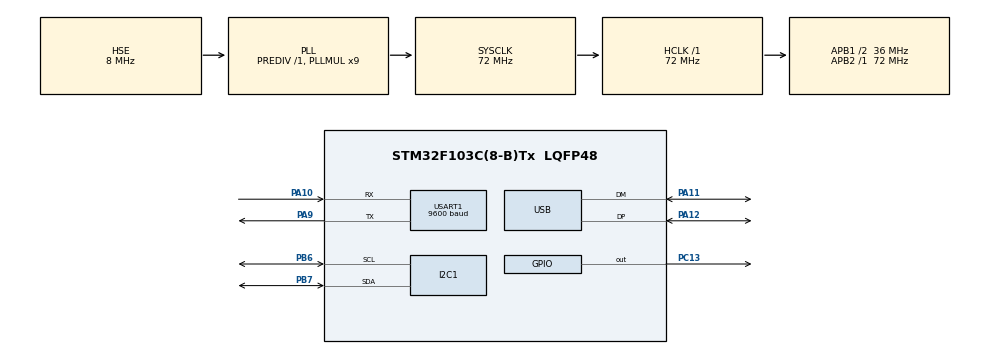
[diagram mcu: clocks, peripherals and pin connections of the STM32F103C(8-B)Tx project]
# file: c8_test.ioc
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Mcu.Family=STM32F1
Mcu.Name=STM32F103C(8-B)Tx
Mcu.Package=LQFP48
NVIC.PriorityGroup=NVIC_PRIORITYGROUP_4
NVIC.TIM1_UP_IRQn=true\:0\:0\:false\:false\:true\:true\:true
NVIC.USART1_IRQn=true\:0\:0\:false\:false\:true\:true\:true
NVIC.USB_LP_CAN1_RX0_IRQn=true\:0\:0\:false\:false\:true\:false\:true
PA10.Mode=Asynchronous
PA10.Signal=USART1_RX
PA11.Mode=Device
PA11.Signal=USB_DM
PA12.Mode=Device
PA12.Signal=USB_DP
PA13.Mode=Serial_Wire
PA13.Signal=SYS_JTMS-SWDIO
PA14.Mode=Serial_Wire
PA14.Signal=SYS_JTCK-SWCLK
PA9.Mode=Asynchronous
PA9.Signal=USART1_TX
PB6.Mode=I2C
PB6.Signal=I2C1_SCL
PB7.Mode=I2C
PB7.Signal=I2C1_SDA
PC13-TAMPER-RTC.Signal=GPIO_Output
PD0-OSC_IN.Mode=HSE-External-Oscillator
PD0-OSC_IN.Signal=RCC_OSC_IN
PD1-OSC_OUT.Mode=HSE-External-Oscillator
PD1-OSC_OUT.Signal=RCC_OSC_OUT
ProjectManager.HeapSize=0x200
ProjectManager.StackSize=0x400
ProjectManager.TargetToolchain=Makefile
RCC.AHBFreq_Value=72000000
RCC.APB1CLKDivider=RCC_HCLK_DIV2
RCC.APB1Freq_Value=36000000
RCC.APB1TimFreq_Value=72000000
RCC.APB2Freq_Value=72000000
RCC.APB2TimFreq_Value=72000000
RCC.HCLKFreq_Value=72000000
RCC.PLLMUL=RCC_PLL_MUL9
RCC.SYSCLKFreq_VALUE=72000000
RCC.SYSCLKSource=RCC_SYSCLKSOURCE_PLLCLK
RCC.USBFreq_Value=48000000
RCC.USBPrescaler=RCC_USBCLKSOURCE_PLL_DIV1_5
USART1.BaudRate=9600
USART1.VirtualMode=VM_ASYNC
USB_DEVICE.CLASS_NAME_FS=CDC
USB_DEVICE.VirtualMode=Cdc
USB_DEVICE.VirtualModeFS=Cdc_FS
VP_TIM1_VS_ClockSourceINT.Mode=Internal
VP_USB_DEVICE_VS_USB_DEVICE_CDC_FS.Mode=CDC_FS
board=custom

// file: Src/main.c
/* USER CODE BEGIN Header */
/**
  ******************************************************************************
  * @file           : main.c
  * @brief          : Main program body
  ******************************************************************************
  * @attention
  *
  * <h2><center>&copy; Copyright (c) 2021 STMicroelectronics.
  * All rights reserved.</center></h2>
  *
  * This software component is licensed by ST under BSD 3-Clause license,
  * the "License"; You may not use this file except in compliance with the
  * License. You may obtain a copy of the License at:
  *                        opensource.org/licenses/BSD-3-Clause
  *
  ******************************************************************************
  */
/* USER CODE END Header */
#include "main.h"
#include "usb_device.h"

/* USER CODE BEGIN Includes */
#include "usbd_cdc_if.h"
#include "string.h"
#include "math.h"
#include <stdio.h>
/* USER CODE END Includes */

I2C_HandleTypeDef hi2c1;

TIM_HandleTypeDef htim1;

UART_HandleTypeDef huart1;

/* USER CODE BEGIN PV */
const float eksponent = 0.1902949571836346336822074215; // Eksponent za racunanjhe visine; vrednost: 1/5.255 (po dokumentaciji)
const float p0 = 1013.25; // Pritisak na nivou mora, za racunanje visine sluzi

uint8_t initValue = 0xAC; // Vrednost sa neta (radi), sluzi da oznaci SlaveAddr
uint8_t* pData = &initValue;

uint16_t devAddress = 0x27; // Adresa uredjanja (nadjena u dokumentaciji)
uint8_t dataBuffer[5] = {0,0,0,0,0}; // Buffer koji prima podatke sa senzora
/* USER CODE END PV */

void SystemClock_Config(void);
static void MX_GPIO_Init(void);
static void MX_TIM1_Init(void);
static void MX_USART1_UART_Init(void);
static void MX_I2C1_Init(void);

int main(void)
{

  /* MCU Configuration--------------------------------------------------------*/

  /* Reset of all peripherals, Initializes the Flash interface and the Systick. */
  HAL_Init();

  /* Configure the system clock */
  SystemClock_Config();

  /* Initialize all configured peripherals */
  MX_GPIO_Init();
  MX_TIM1_Init();
  MX_USART1_UART_Init();
  MX_USB_DEVICE_Init();
  MX_I2C1_Init();

  /* Infinite loop */
  while (1)
  {

    /* USER CODE BEGIN 3 */

    /**
     * Po dokumetaciji Master salje Slaveu vrednost SlaveAddr (0xAC) i 0 na kraju ako je write operacije (pa je zato <<1)
     * Ceka se min 20ms
     * Prima se 5B podataka (1B status, 2B Pritisak, 2B Temperatura)
    */

    HAL_I2C_Master_Transmit(&hi2c1, (devAddress<<1), pData, 1, HAL_MAX_DELAY);
    HAL_Delay(50);
    HAL_I2C_Master_Receive(&hi2c1, (devAddress<<1) | 0x01, dataBuffer, 5, HAL_MAX_DELAY);

    //CDC_Transmit_FS(dataBuffer, 5);

    /**
     * Pakovanje 2 uint8_t u 1 uint16_t
     * Isto i za P i za T
    */

    uint16_t P = 0; // Vrednost pritiska iz data buffera (ova vrednost se ubacuje u formulu iz dokumetacije za racunanje pritisak)
    uint16_t T = 0; // Vrednost temperature iz data buffera (ova vrednost se ubacuje u formulu iz dokumetacije za racunanje temperature)

    P |= (uint16_t)dataBuffer[1] << 8;
    P |= (uint16_t)dataBuffer[2] << 0;

    T |= (uint16_t)dataBuffer[3] << 8;
    T |= (uint16_t)dataBuffer[4] << 0;

    /**
     * Konverzija P i T po formulama iz dokumetacije
     * Kljucno je da tip Pconv i Tconv bude float, da bi formula imala smisla
    */

    float Pconv = (float)P/65535*(1260-260) + 260; // Vrednost pritiska nakon preracunavanja (realna vrednost)
    float Tconv = (float)T/65535*(85+40) - 40;     // Vrednost temperature nakon prepracunavanja (realna vrednost)

    /**
     * Float pretvaram u niz karaktera da bi mogao da ga posaljem serijski
     * velicina floata je 4B
    */
    unsigned char *chptr_Pconv; // Pointer na niz karaktera koji oznacavaju Pconv (sluzi da bi serijskom vezom poslao vrednost Pconv)
    chptr_Pconv = (unsigned char *) &Pconv;

    unsigned char *chptr_Tconv; // Pointer na niz karaktera koji oznacavaju Tconv (sluzi da bi serijskom vezom poslao vrednost Tconv)
    chptr_Tconv = (unsigned char *) &Tconv;

    CDC_Transmit_FS(chptr_Pconv, 4);
    HAL_Delay(50);
    CDC_Transmit_FS(chptr_Tconv, 4);

    /**
     * Racunanje visine po formuli iz dokumentacije
     * Opet je bitno da height bude float
    */

    float height = 44330 * (1 - pow((Pconv/p0),eksponent)); // Visina

    /**
     * Opet float pretvaram u niz karaktera da bi mogao da ga posaljem serijski
     * velicina floata je 4B
    */
    unsigned char *chptr_height;  // Pointer na niz karaktera koji oznacavaju height (sluzi da bi serijskom vezom poslao vrednost height)
    chptr_height = (unsigned char *) &height;

    CDC_Transmit_FS(chptr_height, 4);

    HAL_GPIO_TogglePin(GPIOC, GPIO_PIN_13);
    HAL_Delay(1000);
  }
  /* USER CODE END 3 */
}
void SystemClock_Config(void)
{
  RCC_OscInitTypeDef RCC_OscInitStruct = {0};
  RCC_ClkInitTypeDef RCC_ClkInitStruct = {0};
  RCC_PeriphCLKInitTypeDef PeriphClkInit = {0};

  /** Initializes the RCC Oscillators according to the specified parameters
  * in the RCC_OscInitTypeDef structure.
  */
  RCC_OscInitStruct.OscillatorType = RCC_OSCILLATORTYPE_HSE;
  RCC_OscInitStruct.HSEState = RCC_HSE_ON;
  RCC_OscInitStruct.HSEPredivValue = RCC_HSE_PREDIV_DIV1;
  RCC_OscInitStruct.HSIState = RCC_HSI_ON;
  RCC_OscInitStruct.PLL.PLLState = RCC_PLL_ON;
  RCC_OscInitStruct.PLL.PLLSource = RCC_PLLSOURCE_HSE;
  RCC_OscInitStruct.PLL.PLLMUL = RCC_PLL_MUL9;
  if (HAL_RCC_OscConfig(&RCC_OscInitStruct) != HAL_OK)
  {
    Error_Handler();
  }
  /** Initializes the CPU, AHB and APB buses clocks
  */
  RCC_ClkInitStruct.ClockType = RCC_CLOCKTYPE_HCLK|RCC_CLOCKTYPE_SYSCLK
                              |RCC_CLOCKTYPE_PCLK1|RCC_CLOCKTYPE_PCLK2;
  RCC_ClkInitStruct.SYSCLKSource = RCC_SYSCLKSOURCE_PLLCLK;
  RCC_ClkInitStruct.AHBCLKDivider = RCC_SYSCLK_DIV1;
  RCC_ClkInitStruct.APB1CLKDivider = RCC_HCLK_DIV2;
  RCC_ClkInitStruct.APB2CLKDivider = RCC_HCLK_DIV1;

  if (HAL_RCC_ClockConfig(&RCC_ClkInitStruct, FLASH_LATENCY_2) != HAL_OK)
  {
    Error_Handler();
  }
  PeriphClkInit.PeriphClockSelection = RCC_PERIPHCLK_USB;
  PeriphClkInit.UsbClockSelection = RCC_USBCLKSOURCE_PLL_DIV1_5;
  if (HAL_RCCEx_PeriphCLKConfig(&PeriphClkInit) != HAL_OK)
  {
    Error_Handler();
  }
}

static void MX_I2C1_Init(void)
{

  hi2c1.Instance = I2C1;
  hi2c1.Init.ClockSpeed = 100000;
  hi2c1.Init.DutyCycle = I2C_DUTYCYCLE_2;
  hi2c1.Init.OwnAddress1 = 0;
  hi2c1.Init.AddressingMode = I2C_ADDRESSINGMODE_7BIT;
  hi2c1.Init.DualAddressMode = I2C_DUALADDRESS_DISABLE;
  hi2c1.Init.OwnAddress2 = 0;
  hi2c1.Init.GeneralCallMode = I2C_GENERALCALL_DISABLE;
  hi2c1.Init.NoStretchMode = I2C_NOSTRETCH_DISABLE;
  if (HAL_I2C_Init(&hi2c1) != HAL_OK)
  {
    Error_Handler();
  }

}

static void MX_TIM1_Init(void)
{

  TIM_ClockConfigTypeDef sClockSourceConfig = {0};
  TIM_MasterConfigTypeDef sMasterConfig = {0};

  htim1.Instance = TIM1;
  htim1.Init.Prescaler = 0;
  htim1.Init.CounterMode = TIM_COUNTERMODE_UP;
  htim1.Init.Period = 65535;
  htim1.Init.ClockDivision = TIM_CLOCKDIVISION_DIV1;
  htim1.Init.RepetitionCounter = 0;
  htim1.Init.AutoReloadPreload = TIM_AUTORELOAD_PRELOAD_DISABLE;
  if (HAL_TIM_Base_Init(&htim1) != HAL_OK)
  {
    Error_Handler();
  }
  sClockSourceConfig.ClockSource = TIM_CLOCKSOURCE_INTERNAL;
  if (HAL_TIM_ConfigClockSource(&htim1, &sClockSourceConfig) != HAL_OK)
  {
    Error_Handler();
  }
  sMasterConfig.MasterOutputTrigger = TIM_TRGO_RESET;
  sMasterConfig.MasterSlaveMode = TIM_MASTERSLAVEMODE_DISABLE;
  if (HAL_TIMEx_MasterConfigSynchronization(&htim1, &sMasterConfig) != HAL_OK)
  {
    Error_Handler();
  }

}

static void MX_USART1_UART_Init(void)
{

  huart1.Instance = USART1;
  huart1.Init.BaudRate = 9600;
  huart1.Init.WordLength = UART_WORDLENGTH_8B;
  huart1.Init.StopBits = UART_STOPBITS_1;
  huart1.Init.Parity = UART_PARITY_NONE;
  huart1.Init.Mode = UART_MODE_TX_RX;
  huart1.Init.HwFlowCtl = UART_HWCONTROL_NONE;
  huart1.Init.OverSampling = UART_OVERSAMPLING_16;
  if (HAL_UART_Init(&huart1) != HAL_OK)
  {
    Error_Handler();
  }

}

static void MX_GPIO_Init(void)
{
  GPIO_InitTypeDef GPIO_InitStruct = {0};

  /* GPIO Ports Clock Enable */
  __HAL_RCC_GPIOC_CLK_ENABLE();
  __HAL_RCC_GPIOD_CLK_ENABLE();
  __HAL_RCC_GPIOA_CLK_ENABLE();
  __HAL_RCC_GPIOB_CLK_ENABLE();

  /*Configure GPIO pin Output Level */
  HAL_GPIO_WritePin(GPIOC, GPIO_PIN_13, GPIO_PIN_RESET);

  /*Configure GPIO pin : PC13 */
  GPIO_InitStruct.Pin = GPIO_PIN_13;
  GPIO_InitStruct.Mode = GPIO_MODE_OUTPUT_PP;
  GPIO_InitStruct.Pull = GPIO_NOPULL;
  GPIO_InitStruct.Speed = GPIO_SPEED_FREQ_LOW;
  HAL_GPIO_Init(GPIOC, &GPIO_InitStruct);

}

void Error_Handler(void)
{
  __disable_irq();
  while (1)
  {
  }
}

/************************ (C) COPYRIGHT STMicroelectronics *****END OF FILE****/
